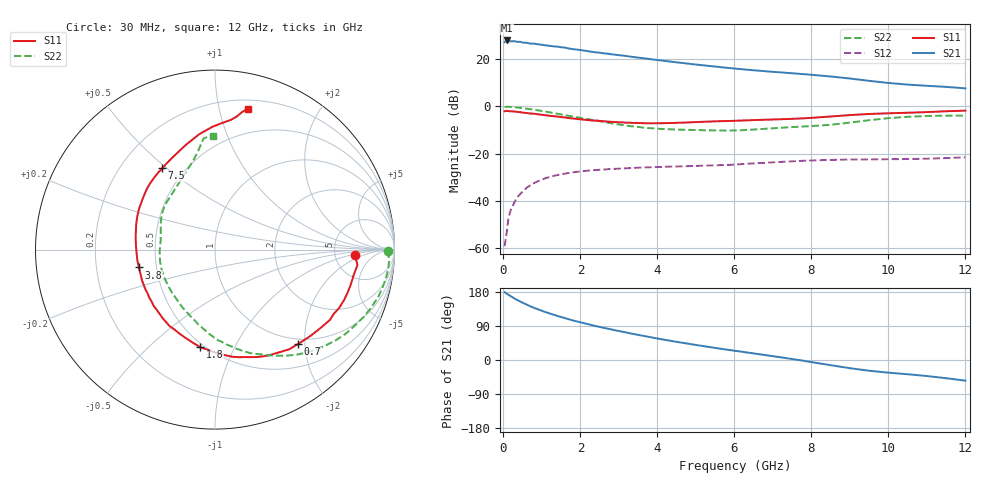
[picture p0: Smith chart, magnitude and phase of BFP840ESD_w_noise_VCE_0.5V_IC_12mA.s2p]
! Infineon Technologies  Discrete & RF Semiconductors
! BFP840ESD
! VCE =  0.5 V,  IC =  12 mA
! Common Emitter S-Parameters:  May 2012
# GHz  S  MA  R  50
!  f  S11  S21  S12  S22
! GHz  MAG  ANG  MAG  ANG  MAG  ANG  MAG  ANG
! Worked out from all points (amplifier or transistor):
!   93 points, 30 MHz to 12 GHz, reference 50 ohm
!   highest |S21| = 27.8 dB at 80 MHz (marker M1)
!   |S21| within 3 dB of that: start of sweep to 1.579 GHz
!   unconditionally stable (mu >= 1): 5.111 GHz to 11.12 GHz
!   at 1.1 GHz: K = 0.27, MSG = 28.1 dB, |S12| = -30.4 dB
!   at 4.2 GHz: K = 0.88, MSG = 22.4 dB, |S12| = -25.6 dB
!   at 12 GHz: K = 0.88, MSG = 14.6 dB, |S12| = -21.6 dB
!   lowest NFmin = 0.89 dB at 450 MHz
!   S11 on the Smith chart (normalised r, x): 30 MHz: 7.94, -1.28; 700 MHz: 0.90, -1.86; 1.8 GHz: 0.48, -0.74; 3.8 GHz: 0.40, -0.10; 7.5 GHz: 0.38, +0.48; 12 GHz: 0.27, +1.22
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0.03  0.7814 -2.3  22.56 178.9  0.0011 87.6  0.9621 -0.4
0.08  0.7983 -6.2  24.52 175.3  0.002 87.7  0.972 -3.3
0.13  0.7853 -10.5  23.4 172.1  0.0043 88.9  0.9717 -6.2
0.28  0.772 -21.4  23.63 162.8  0.0092 77.4  0.9535 -13.8
0.38  0.7518 -28.6  22.76 157.3  0.0124 75.3  0.9346 -18.7
0.43  0.7509 -31.4  23.03 154.5  0.0138 73.8  0.9258 -20.9
0.7  0.7006 -48.7  21.05 141.6  0.0213 65.1  0.8657 -32.8
0.8  0.6926 -53.3  20.91 137.4  0.0239 62.0  0.8418 -36.8
1.1  0.6434 -68.5  19.32 126.1  0.0302 54.1  0.7672 -48.4
1.4  0.6044 -80.9  18.16 116.4  0.035 47.2  0.6931 -58.6
1.8  0.5503 -98.5  16.05 104.4  0.04 40.1  0.6063 -71.6
2.1  0.5173 -109.0  14.98 97.0  0.0427 35.4  0.5463 -80.5
2.4  0.4957 -120.8  13.72 89.4  0.0448 32.5  0.5014 -89.1
2.9  0.4638 -137.4  12.26 78.4  0.0474 27.0  0.4246 -103.1
3.8  0.4352 -166.8  9.926 60.5  0.0511 20.3  0.3431 -131.5
4.1  0.4368 -176.2  9.246 54.9  0.0519 18.7  0.3314 -141.0
5  0.4617 161.8  7.595 39.7  0.0548 14.6  0.3135 -166.3
6.1  0.4946 143.8  6.144 23.1  0.059 11.9  0.3094 168.1
7.5  0.5406 123.1  4.969 2.5  0.0683 5.1  0.3618 143.6
8.5  0.6055 105.6  4.243 -13.7  0.0732 -1.9  0.4048 123.2
10.5  0.7269 83.2  2.859 -37.6  0.0764 -13.5  0.5956 97.4
12  0.8052 76.8  2.383 -54.5  0.0831 -18.9  0.6338 91.0
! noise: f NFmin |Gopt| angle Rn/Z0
0.45  0.89  0.22  1  0.14
0.9  0.89  0.22  4  0.14
1.5  0.9  0.22  9  0.13
1.9  0.91  0.2  13  0.12
2.4  0.91  0.17  23  0.12
3.5  0.93  0.1  61  0.1
5.5  0.99  0.07  168  0.1
8  1.11  0.3  -121  0.11
10  1.24  0.48  -85  0.2
12  1.46  0.61  -69  0.29
